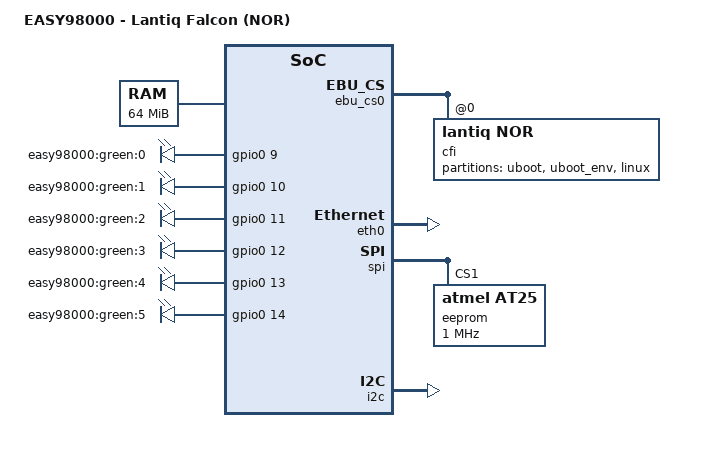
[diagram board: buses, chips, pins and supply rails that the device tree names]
/dts-v1/;

/include/ "falcon.dtsi"

/ {
	model = "EASY98000 - Lantiq Falcon (NOR)";
	compatible = "lantiq,falcon-easy98000", "lantiq,falcon";

	chosen {
		bootargs-append = "console=ttyLTQ0,115200 init=/etc/preinit";
	};

	alias {
		ethernet0 = &eth0;
	};

	memory@0 {
		reg = <0x0 0x4000000>;
	};

	easy98000-leds {
		compatible = "gpio-leds";
		pinctrl-names = "default";
		pinctrl-0 = <&bootled_pins>;

		LED_0 {
			label = "easy98000:green:0";
			gpios = <&gpio0 9 0>;
			default-state = "keep";
		};
		LED_1 {
			label = "easy98000:green:1";
			gpios = <&gpio0 10 0>;
			default-state = "keep";
		};
		LED_2 {
			label = "easy98000:green:2";
			gpios = <&gpio0 11 0>;
			default-state = "keep";
		};
		LED_3 {
			label = "easy98000:green:3";
			gpios = <&gpio0 12 0>;
			default-state = "keep";
		};
		LED_4 {
			label = "easy98000:green:4";
			gpios = <&gpio0 13 0>;
			default-state = "keep";
		};
		LED_5 {
			label = "easy98000:green:5";
			gpios = <&gpio0 14 0>;
			linux,default-trigger = "heartbeat";
		};
	};
};

&ebu_cs0 {
	cfi@0 {
		compatible = "lantiq,nor";
		bank-width = <2>;
		reg = <0x0 0x4000000>;
		#address-cells = <1>;
		#size-cells = <1>;

		partition@0 {
			label = "uboot";
			reg = <0x00000 0x40000>;
		};

		partition@10000 {
			label = "uboot_env";
			reg = <0x40000 0x40000>;
		};

		partition@20000 {
			label = "linux";
			reg = <0x80000 0x3d0000>;
		};
	};
};

&ebu_cs1 {
	eth0: ethernet@0000000 {
		compatible = "davicom,dm9000";
		device_type = "network";
		reg = <0x0000003 0x1>, <0x0000001 0x1>;
		reg-names = "addr", "data";
		interrupt-parent = <&gpio1>;
		#interrupt-cells = <2>;
		interrupts = <10 0x8>;
		local-mac-address = [ 00 00 00 00 00 00 ];
	};

	cpld@3c00000 {
		reg = <0x3c00000 0x2>;
		compatible = "lantiq,easy98000_addon";
	};

	cpld@3c0000c {
		reg = <0x3c0000c 0x2>,  <0x3c00012 0x2>;
		compatible = "lantiq,easy98000_cpld_led";
	};
};

/* // enable this for second uart:
&serial1 {
	status = "okay";
};*/

&spi {
	status = "okay";

	eeprom@1 {
		compatible = "atmel,at25", "atmel,at25160n";
		reg = <1>;
		spi-max-frequency = <1000000>;
		spi-cpha;
		spi-cpol;

		pagesize = <32>;
		size = <2048>;
		address-width = <16>;
	};
};

&i2c {
	status = "okay";
};
